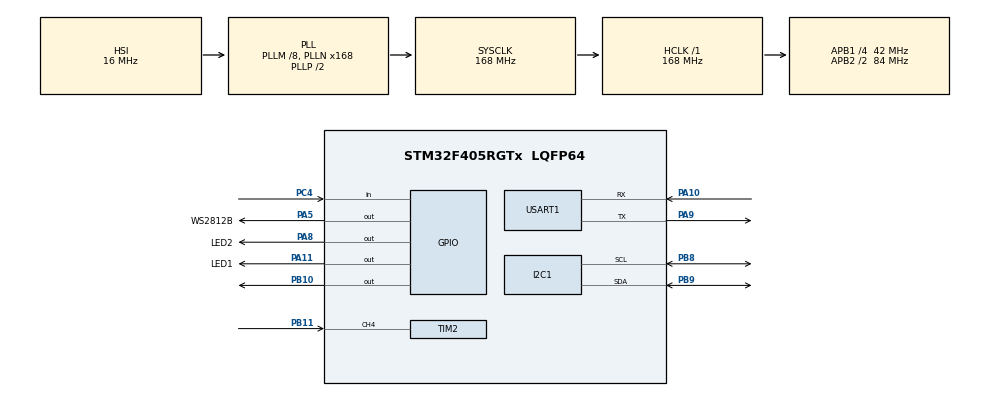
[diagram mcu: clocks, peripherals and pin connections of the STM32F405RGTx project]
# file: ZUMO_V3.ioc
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Mcu.Family=STM32F4
Mcu.Name=STM32F405RGTx
Mcu.Package=LQFP64
NVIC.PriorityGroup=NVIC_PRIORITYGROUP_4
NVIC.TIM2_IRQn=true\:0\:0\:false\:false\:true\:true\:true
PA10.Mode=Asynchronous
PA10.Signal=USART1_RX
PA11.GPIO_Label=LED1
PA11.Signal=GPIO_Output
PA13.Mode=Serial_Wire
PA13.Signal=SYS_JTMS-SWDIO
PA14.Mode=Serial_Wire
PA14.Signal=SYS_JTCK-SWCLK
PA5.GPIO_Label=WS2812B
PA5.GPIO_PuPd=GPIO_PULLUP
PA5.Signal=GPIO_Output
PA8.GPIO_Label=LED2
PA8.Signal=GPIO_Output
PA9.Mode=Asynchronous
PA9.Signal=USART1_TX
PB10.Signal=GPIO_Output
PB11.Signal=S_TIM2_CH4
PB8.Mode=I2C
PB8.Signal=I2C1_SCL
PB9.Mode=I2C
PB9.Signal=I2C1_SDA
PC4.Signal=GPIO_Input
PH0-OSC_IN.Mode=HSE-External-Oscillator
PH0-OSC_IN.Signal=RCC_OSC_IN
PH1-OSC_OUT.Mode=HSE-External-Oscillator
PH1-OSC_OUT.Signal=RCC_OSC_OUT
ProjectManager.HeapSize=0x200
ProjectManager.StackSize=0x400
ProjectManager.TargetToolchain=Makefile
RCC.48MHZClocksFreq_Value=84000000
RCC.AHBFreq_Value=168000000
RCC.APB1CLKDivider=RCC_HCLK_DIV4
RCC.APB1Freq_Value=42000000
RCC.APB1TimFreq_Value=84000000
RCC.APB2CLKDivider=RCC_HCLK_DIV2
RCC.APB2Freq_Value=84000000
RCC.APB2TimFreq_Value=168000000
RCC.CortexFreq_Value=168000000
RCC.HCLKFreq_Value=168000000
RCC.HSE_VALUE=8000000
RCC.HSI_VALUE=16000000
RCC.LSE_VALUE=32768
RCC.PLLM=8
RCC.PLLN=168
RCC.SYSCLKFreq_VALUE=168000000
RCC.SYSCLKSource=RCC_SYSCLKSOURCE_PLLCLK
RCC.VCOOutputFreq_Value=336000000
SH.S_TIM2_CH4.0=TIM2_CH4,Input_Capture4_from_TI4
TIM2.Channel-Input_Capture4_from_TI4=TIM_CHANNEL_4
TIM2.Period=0xffff-1
TIM2.Prescaler=168-1
USART1.VirtualMode=VM_ASYNC
board=custom

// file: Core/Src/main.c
/* USER CODE BEGIN Header */
/**
  ******************************************************************************
  * @file           : main.c
  * @brief          : Main program body
  ******************************************************************************
  * @attention
  *
  * <h2><center>&copy; Copyright (c) 2021 STMicroelectronics.
  * All rights reserved.</center></h2>
  *
  * This software component is licensed by ST under BSD 3-Clause license,
  * the "License"; You may not use this file except in compliance with the
  * License. You may obtain a copy of the License at:
  *                        opensource.org/licenses/BSD-3-Clause
  *
  ******************************************************************************
  */
/* USER CODE END Header */
#include "main.h"
#include <string.h>
#include <stdio.h>

I2C_HandleTypeDef hi2c1;

TIM_HandleTypeDef htim2;

UART_HandleTypeDef huart1;

void SystemClock_Config(void);
static void MX_GPIO_Init(void);
static void MX_I2C1_Init(void);
static void MX_USART1_UART_Init(void);
static void MX_TIM2_Init(void);

/* USER CODE BEGIN 0 */
void delay(uint16_t time){
    __HAL_TIM_SET_COUNTER(&htim2, 0);
    while(__HAL_TIM_GET_COUNTER (&htim2) < time);
}

uint32_t IC_Val1 = 0;
uint32_t IC_Val2 = 0;
uint32_t Difference = 0;
uint8_t Is_First_Captured = 0;  // is the first value captured ?
uint8_t Distance  = 0;
char uartBuf[100];

#define TRIG_PIN GPIO_PIN_10
#define TRIG_PORT GPIOB
void HAL_TIM_IC_CaptureCallback(TIM_HandleTypeDef *htim)
{
    sprintf(uartBuf, "Tu\n");
    HAL_UART_Transmit(&huart1, (uint8_t *)uartBuf, strlen(uartBuf), 100);
    if (htim->Channel == HAL_TIM_ACTIVE_CHANNEL_4)  // if the interrupt source is channel4
    {
        if (Is_First_Captured==0) // if the first value is not captured
        {
            IC_Val1 = HAL_TIM_ReadCapturedValue(htim, TIM_CHANNEL_4); // read the first value
            Is_First_Captured = 1;  // set the first captured as true
            // Now change the polarity to falling edge
            __HAL_TIM_SET_CAPTUREPOLARITY(htim, TIM_CHANNEL_4, TIM_INPUTCHANNELPOLARITY_FALLING);
        }

        else if (Is_First_Captured==1)   // if the first is already captured
        {
            IC_Val2 = HAL_TIM_ReadCapturedValue(htim, TIM_CHANNEL_4);  // read second value
            __HAL_TIM_SET_COUNTER(htim, 0);  // reset the counter

            if (IC_Val2 > IC_Val1)
            {
                Difference = IC_Val2-IC_Val1;
            }

            else if (IC_Val1 > IC_Val2)
            {
                Difference = (0xffff - IC_Val1) + IC_Val2;
            }

            Distance = Difference * .034/2;
            Is_First_Captured = 0; // set it back to false

            // set polarity to rising edge
            __HAL_TIM_SET_CAPTUREPOLARITY(htim, TIM_CHANNEL_4, TIM_INPUTCHANNELPOLARITY_RISING);
            __HAL_TIM_DISABLE_IT(&htim2, TIM_IT_CC4);
        }
    }
}
void HCSR04_Read (void)
{
    HAL_GPIO_WritePin(TRIG_PORT, TRIG_PIN, GPIO_PIN_SET);  // pull the TRIG pin HIGH
    delay(10);  // wait for 10 us
    HAL_GPIO_WritePin(TRIG_PORT, TRIG_PIN, GPIO_PIN_RESET);  // pull the TRIG pin low

    __HAL_TIM_ENABLE_IT(&htim2, TIM_IT_CC4);
}
/* USER CODE END 0 */

int main(void)
{

  /* MCU Configuration--------------------------------------------------------*/

  /* Reset of all peripherals, Initializes the Flash interface and the Systick. */
  HAL_Init();

  /* Configure the system clock */
  SystemClock_Config();

  /* Initialize all configured peripherals */
  MX_GPIO_Init();
  MX_I2C1_Init();
  MX_USART1_UART_Init();
  MX_TIM2_Init();
  /* USER CODE BEGIN 2 */
  //int Main();
  //Main();
  HAL_TIM_IC_Start_IT(&htim2, HAL_TIM_ACTIVE_CHANNEL_4);
  /* USER CODE END 2 */

  /* Infinite loop */
  while (1)
  {
      HCSR04_Read();
      HAL_Delay(200);
      sprintf(uartBuf, "Distance (cm)  = %d\n",Distance);
      HAL_UART_Transmit(&huart1, (uint8_t *)uartBuf, strlen(uartBuf), 100);
  }
}

void SystemClock_Config(void)
{
  RCC_OscInitTypeDef RCC_OscInitStruct = {0};
  RCC_ClkInitTypeDef RCC_ClkInitStruct = {0};

  /** Configure the main internal regulator output voltage
  */
  __HAL_RCC_PWR_CLK_ENABLE();
  __HAL_PWR_VOLTAGESCALING_CONFIG(PWR_REGULATOR_VOLTAGE_SCALE1);
  /** Initializes the RCC Oscillators according to the specified parameters
  * in the RCC_OscInitTypeDef structure.
  */
  RCC_OscInitStruct.OscillatorType = RCC_OSCILLATORTYPE_HSI;
  RCC_OscInitStruct.HSIState = RCC_HSI_ON;
  RCC_OscInitStruct.HSICalibrationValue = RCC_HSICALIBRATION_DEFAULT;
  RCC_OscInitStruct.PLL.PLLState = RCC_PLL_ON;
  RCC_OscInitStruct.PLL.PLLSource = RCC_PLLSOURCE_HSI;
  RCC_OscInitStruct.PLL.PLLM = 8;
  RCC_OscInitStruct.PLL.PLLN = 168;
  RCC_OscInitStruct.PLL.PLLP = RCC_PLLP_DIV2;
  RCC_OscInitStruct.PLL.PLLQ = 4;
  if (HAL_RCC_OscConfig(&RCC_OscInitStruct) != HAL_OK)
  {
    Error_Handler();
  }
  /** Initializes the CPU, AHB and APB buses clocks
  */
  RCC_ClkInitStruct.ClockType = RCC_CLOCKTYPE_HCLK|RCC_CLOCKTYPE_SYSCLK
                              |RCC_CLOCKTYPE_PCLK1|RCC_CLOCKTYPE_PCLK2;
  RCC_ClkInitStruct.SYSCLKSource = RCC_SYSCLKSOURCE_PLLCLK;
  RCC_ClkInitStruct.AHBCLKDivider = RCC_SYSCLK_DIV1;
  RCC_ClkInitStruct.APB1CLKDivider = RCC_HCLK_DIV4;
  RCC_ClkInitStruct.APB2CLKDivider = RCC_HCLK_DIV2;

  if (HAL_RCC_ClockConfig(&RCC_ClkInitStruct, FLASH_LATENCY_5) != HAL_OK)
  {
    Error_Handler();
  }
}

static void MX_I2C1_Init(void)
{

  hi2c1.Instance = I2C1;
  hi2c1.Init.ClockSpeed = 100000;
  hi2c1.Init.DutyCycle = I2C_DUTYCYCLE_2;
  hi2c1.Init.OwnAddress1 = 0;
  hi2c1.Init.AddressingMode = I2C_ADDRESSINGMODE_7BIT;
  hi2c1.Init.DualAddressMode = I2C_DUALADDRESS_DISABLE;
  hi2c1.Init.OwnAddress2 = 0;
  hi2c1.Init.GeneralCallMode = I2C_GENERALCALL_DISABLE;
  hi2c1.Init.NoStretchMode = I2C_NOSTRETCH_DISABLE;
  if (HAL_I2C_Init(&hi2c1) != HAL_OK)
  {
    Error_Handler();
  }

}

static void MX_TIM2_Init(void)
{

  TIM_MasterConfigTypeDef sMasterConfig = {0};
  TIM_IC_InitTypeDef sConfigIC = {0};

  htim2.Instance = TIM2;
  htim2.Init.Prescaler = 168-1;
  htim2.Init.CounterMode = TIM_COUNTERMODE_UP;
  htim2.Init.Period = 0xffff-1;
  htim2.Init.ClockDivision = TIM_CLOCKDIVISION_DIV1;
  htim2.Init.AutoReloadPreload = TIM_AUTORELOAD_PRELOAD_DISABLE;
  if (HAL_TIM_IC_Init(&htim2) != HAL_OK)
  {
    Error_Handler();
  }
  sMasterConfig.MasterOutputTrigger = TIM_TRGO_RESET;
  sMasterConfig.MasterSlaveMode = TIM_MASTERSLAVEMODE_DISABLE;
  if (HAL_TIMEx_MasterConfigSynchronization(&htim2, &sMasterConfig) != HAL_OK)
  {
    Error_Handler();
  }
  sConfigIC.ICPolarity = TIM_INPUTCHANNELPOLARITY_RISING;
  sConfigIC.ICSelection = TIM_ICSELECTION_DIRECTTI;
  sConfigIC.ICPrescaler = TIM_ICPSC_DIV1;
  sConfigIC.ICFilter = 0;
  if (HAL_TIM_IC_ConfigChannel(&htim2, &sConfigIC, TIM_CHANNEL_4) != HAL_OK)
  {
    Error_Handler();
  }

}

static void MX_USART1_UART_Init(void)
{

  huart1.Instance = USART1;
  huart1.Init.BaudRate = 115200;
  huart1.Init.WordLength = UART_WORDLENGTH_8B;
  huart1.Init.StopBits = UART_STOPBITS_1;
  huart1.Init.Parity = UART_PARITY_NONE;
  huart1.Init.Mode = UART_MODE_TX_RX;
  huart1.Init.HwFlowCtl = UART_HWCONTROL_NONE;
  huart1.Init.OverSampling = UART_OVERSAMPLING_16;
  if (HAL_UART_Init(&huart1) != HAL_OK)
  {
    Error_Handler();
  }

}

static void MX_GPIO_Init(void)
{
  GPIO_InitTypeDef GPIO_InitStruct = {0};

  /* GPIO Ports Clock Enable */
  __HAL_RCC_GPIOH_CLK_ENABLE();
  __HAL_RCC_GPIOA_CLK_ENABLE();
  __HAL_RCC_GPIOC_CLK_ENABLE();
  __HAL_RCC_GPIOB_CLK_ENABLE();

  /*Configure GPIO pin Output Level */
  HAL_GPIO_WritePin(GPIOA, WS2812B_Pin|LED2_Pin|LED1_Pin, GPIO_PIN_RESET);

  /*Configure GPIO pin Output Level */
  HAL_GPIO_WritePin(GPIOB, GPIO_PIN_10, GPIO_PIN_RESET);

  /*Configure GPIO pin : WS2812B_Pin */
  GPIO_InitStruct.Pin = WS2812B_Pin;
  GPIO_InitStruct.Mode = GPIO_MODE_OUTPUT_PP;
  GPIO_InitStruct.Pull = GPIO_PULLUP;
  GPIO_InitStruct.Speed = GPIO_SPEED_FREQ_LOW;
  HAL_GPIO_Init(WS2812B_GPIO_Port, &GPIO_InitStruct);

  /*Configure GPIO pin : PC4 */
  GPIO_InitStruct.Pin = GPIO_PIN_4;
  GPIO_InitStruct.Mode = GPIO_MODE_INPUT;
  GPIO_InitStruct.Pull = GPIO_NOPULL;
  HAL_GPIO_Init(GPIOC, &GPIO_InitStruct);

  /*Configure GPIO pin : PB10 */
  GPIO_InitStruct.Pin = GPIO_PIN_10;
  GPIO_InitStruct.Mode = GPIO_MODE_OUTPUT_PP;
  GPIO_InitStruct.Pull = GPIO_NOPULL;
  GPIO_InitStruct.Speed = GPIO_SPEED_FREQ_LOW;
  HAL_GPIO_Init(GPIOB, &GPIO_InitStruct);

  /*Configure GPIO pins : LED2_Pin LED1_Pin */
  GPIO_InitStruct.Pin = LED2_Pin|LED1_Pin;
  GPIO_InitStruct.Mode = GPIO_MODE_OUTPUT_PP;
  GPIO_InitStruct.Pull = GPIO_NOPULL;
  GPIO_InitStruct.Speed = GPIO_SPEED_FREQ_LOW;
  HAL_GPIO_Init(GPIOA, &GPIO_InitStruct);

}

void Error_Handler(void)
{
  __disable_irq();
  while (1)
  {
  }
}

/************************ (C) COPYRIGHT STMicroelectronics *****END OF FILE****/
